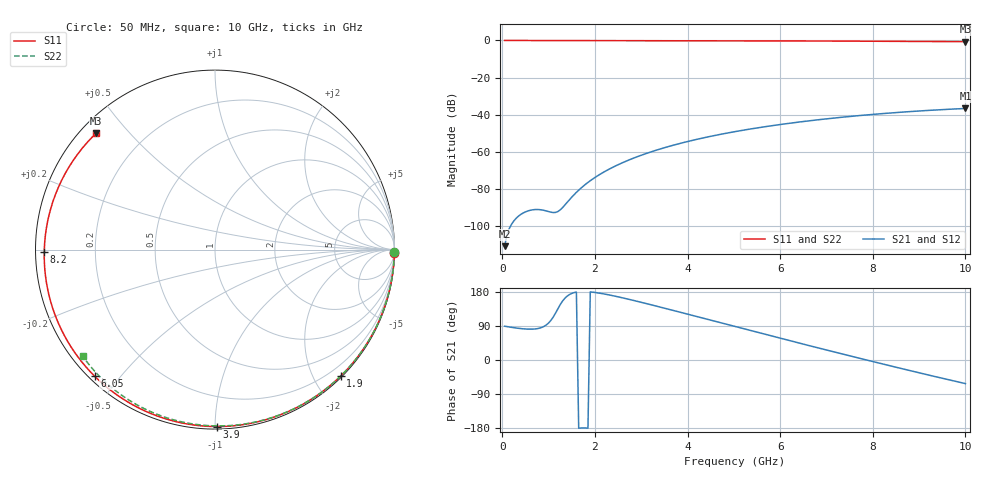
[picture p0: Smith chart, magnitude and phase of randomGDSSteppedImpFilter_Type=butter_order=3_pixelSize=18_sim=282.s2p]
! freq	dB(S11)	phase(S11)	dB(S12)	phase(S12)
!  dB(S21)	phase(S21)	dB(S22)	phase(S22)
!S-par simulation data
#  GHz  S  DB  R 50
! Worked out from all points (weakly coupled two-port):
!   200 points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, 50 MHz to 10 GHz, reference 50 ohm
!   highest |S21| = -36.62 dB at 10 GHz (marker M1); lowest = -110.7 dB at 50 MHz (marker M2)
!   lowest |S11| = -0.7 dB at 10 GHz (marker M3), VSWR 26.37, Z = 2.21 + j20.3 ohm
!   |S11| at or under -10 dB: nowhere
!   |S22| runs from -0.5 to 0.0 dB; largest |S21 - S12| = 0
!   S11 on the Smith chart (normalised r, x): 50 MHz: 0, -94; 1.9 GHz: 0.02, -2.41; 3.9 GHz: 0.01, -1.01; 6.05 GHz: 0.02, -0.43; 8.2 GHz: 0.02, -0.01; 10 GHz: 0.04, +0.41
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0.05  -0.00 -1.2  -110.75 89.2  -110.75 89.2  -0.00 -0.8
0.8  -0.02 -19.3  -91.06 83.9  -91.06 83.9  -0.02 -13.0
1.65  -0.05 -39.4  -80.59 -179.9  -80.59 -179.9  -0.03 -26.6
1.7  -0.05 -40.5  -79.46 -179.4  -79.46 -179.4  -0.03 -27.4
1.75  -0.05 -41.7  -78.40 -179.3  -78.40 -179.3  -0.04 -28.2
1.9  -0.06 -45.1  -75.50 179.7  -75.50 179.7  -0.04 -30.6
2.2  -0.07 -52.0  -70.74 174.3  -70.74 174.3  -0.04 -35.3
2.55  -0.08 -59.9  -66.33 165.4  -66.33 165.4  -0.05 -40.7
2.95  -0.09 -68.8  -62.25 153.8  -62.25 153.8  -0.06 -46.8
3.4  -0.10 -78.6  -58.49 140.0  -58.49 140.0  -0.07 -53.6
3.9  -0.12 -89.3  -55.04 124.2  -55.04 124.2  -0.08 -61.0
4.45  -0.14 -100.9  -51.86 106.6  -51.86 106.6  -0.10 -69.0
5.05  -0.17 -113.2  -48.97 87.5  -48.97 87.5  -0.12 -77.4
6.05  -0.24 -133.6  -45.09 55.9  -45.09 55.9  -0.16 -91.1
6.7  -0.29 -146.9  -43.04 35.6  -43.04 35.6  -0.19 -99.7
7.45  -0.35 -162.6  -41.05 12.6  -41.05 12.6  -0.24 -109.4
8.2  -0.43 -179.1  -39.40 -10.1  -39.40 -10.1  -0.30 -118.9
8.35  -0.45 177.5  -39.10 -14.6  -39.10 -14.6  -0.31 -120.7
8.8  -0.50 166.9  -38.29 -27.9  -38.29 -27.9  -0.35 -126.3
9.2  -0.55 157.0  -37.66 -39.6  -37.66 -39.6  -0.39 -131.3
9.6  -0.61 146.6  -37.10 -51.0  -37.10 -51.0  -0.43 -136.3
10  -0.66 135.7  -36.62 -62.3  -36.62 -62.3  -0.48 -141.2
